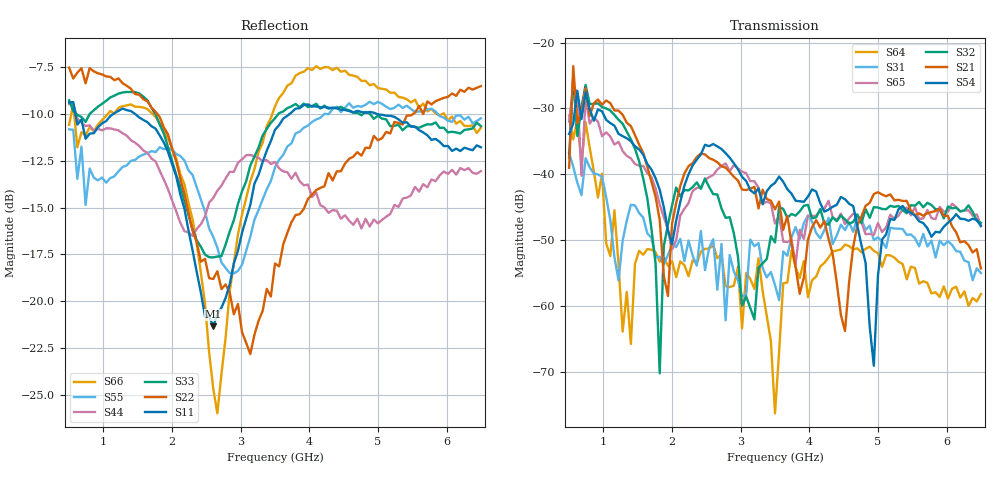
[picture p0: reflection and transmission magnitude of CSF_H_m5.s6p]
!Keysight Technologies,M9804A,MY58100912,A.14.10.03
!Date: Thursday, April 27, 2023 10:28:33
!Correction: S11(C  6-Port  )
!S12(C  6-Port  )
!S13(C  6-Port  )
!S14(C  6-Port  )
!S15(C  6-Port  )
!S16(C  6-Port  )
!S21(C  6-Port  )
!S22(C  6-Port  )
!S23(C  6-Port  )
!S24(C  6-Port  )
!S25(C  6-Port  )
!S26(C  6-Port  )
!S31(C  6-Port  )
!S32(C  6-Port  )
!S33(C  6-Port  )
!S34(C  6-Port  )
!S35(C  6-Port  )
!S36(C  6-Port  )
!S41(C  6-Port  )
!S42(C  6-Port  )
!S43(C  6-Port  )
!S44(C  6-Port  )
!S45(C  6-Port  )
!S46(C  6-Port  )
!S51(C  6-Port  )
!S52(C  6-Port  )
!S53(C  6-Port  )
!S54(C  6-Port  )
!S55(C  6-Port  )
!S56(C  6-Port  )
!S61(C  6-Port  )
!S62(C  6-Port  )
!S63(C  6-Port  )
!S64(C  6-Port  )
!S65(C  6-Port  )
!S66(C  6-Port  )
!S6P File: Measurement: :
# Hz S  RI  R 50
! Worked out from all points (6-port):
!   101 points, 500 MHz to 6.5 GHz, reference 50 ohm
!   strongest paths, dB at 500 MHz, 2 GHz, 3.5 GHz, 5 GHz, 6.5 GHz:
!     S54: -33.9, -50.7, -41.3, -55.4, -47.9
!     S21: -39.0, -47.5, -45.3, -42.7, -54.3
!     S32: -37.5, -44.8, -50.4, -45.0, -47.4
!     S65: -32.0, -51.4, -47.5, -47.4, -47.7
!     S31: -36.8, -50.7, -56.8, -49.6, -55.0
!     S64: -31.1, -53.2, -76.3, -52.0, -58.2
!   lowest |S11| = -21.3 dB at 2.6 GHz (marker M1), VSWR 1.19, Z = 42.4 + j2.28 ohm
!   |S11| at or under -10 dB: 592.1 MHz to 1.141 GHz (548.6 MHz wide, 63.3 % of centre); 1.465 GHz to 3.71 GHz (2.245 GHz wide, 86.8 % of centre); 4.99 GHz to end of sweep
